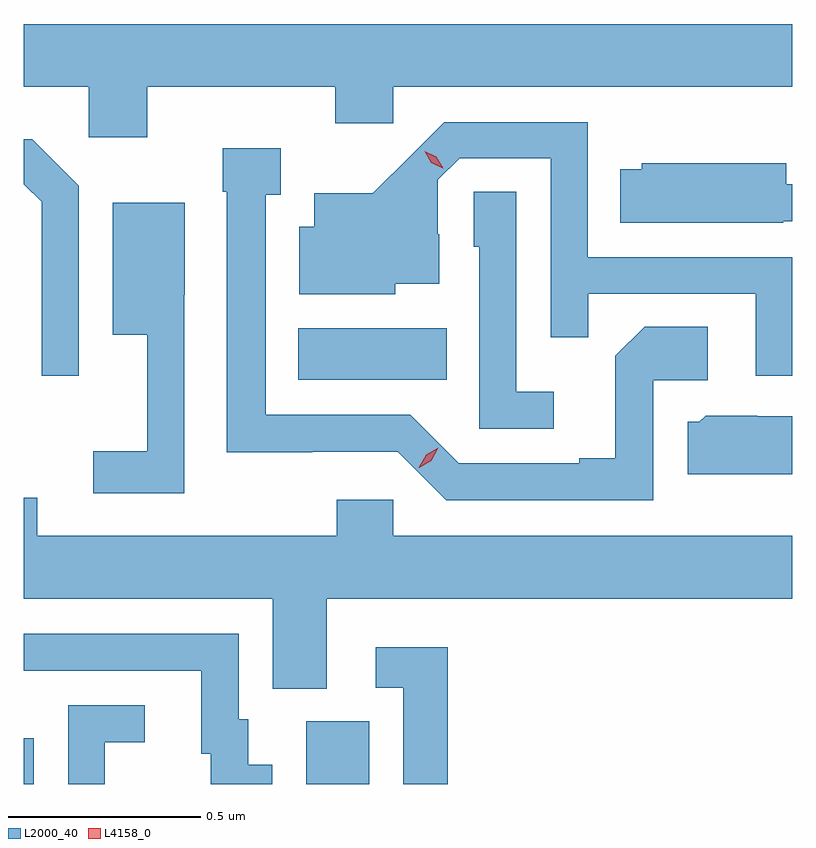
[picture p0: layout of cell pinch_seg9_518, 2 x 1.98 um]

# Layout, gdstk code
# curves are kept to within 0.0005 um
import gdstk
lib = gdstk.Library(unit=1e-6, precision=1e-09)
def R(c, l, rs):  # rectangles x0, y0, x1, y1
    for r in rs: c.add(gdstk.rectangle(r[:2], r[2:], *l))
def P(c, l, *ps):  # polygons
    for p in ps: c.add(gdstk.Polygon(p, *l))
L2000_40 = (2000, 40)
L4158_0 = (4158, 0)

pinch_seg9_518 = lib.new_cell('pinch_seg9_518')
R(pinch_seg9_518, L2000_40, [(287.171,1202.597,287.197,1202.716), (287.906,1202.597,288.07,1202.76), (287.885,1203.65,288.272,1203.784)])
P(pinch_seg9_518, L2000_40, [(287.492,1204.412),(287.981,1204.412),(287.981,1204.317),(288.132,1204.317),(288.132,1204.412),(289.171,1204.412),(289.171,1204.576),(287.171,1204.576),(287.171,1204.412),(287.34,1204.412),(287.34,1204.281),(287.492,1204.281)],
  [(289.171,1203.969),(288.639,1203.969),(288.639,1204.32),(288.266,1204.32),(288.079,1204.135),(287.927,1204.135),(287.927,1204.048),(287.888,1204.048),(287.888,1203.872),(288.138,1203.872),(288.138,1203.899),(288.253,1203.899),(288.253,1204.028),(288.249,1204.028),(288.249,1204.17),(288.306,1204.227),(288.543,1204.227),(288.543,1203.76),(288.641,1203.76),(288.641,1203.873),(289.077,1203.873),(289.077,1203.66),(289.171,1203.66)],
  [(287.313,1204.155),(287.192,1204.276),(287.171,1204.276),(287.171,1204.159),(287.217,1204.113),(287.217,1203.66),(287.313,1203.66)],
  [(288.81,1203.648),(288.952,1203.648),(288.952,1203.788),(288.787,1203.788),(288.711,1203.712),(288.711,1203.445),(288.617,1203.445),(288.617,1203.432),(288.303,1203.432),(288.177,1203.558),(287.8,1203.558),(287.8,1204.131),(287.839,1204.131),(287.839,1204.252),(287.689,1204.252),(287.689,1204.139),(287.699,1204.139),(287.699,1203.461),(287.922,1203.461),(287.922,1203.462),(288.144,1203.462),(288.27,1203.336),(288.81,1203.336)],
  [(289.148,1204.062),(289.171,1204.062),(289.171,1204.159),(289.156,1204.159),(289.156,1204.213),(288.78,1204.213),(288.78,1204.198),(288.724,1204.198),(288.724,1204.058),(289.148,1204.058)],
  [(288.55,1203.619),(288.453,1203.619),(288.453,1204.139),(288.342,1204.139),(288.342,1203.996),(288.357,1203.996),(288.357,1203.522),(288.55,1203.522)],
  [(287.589,1203.871),(287.59,1203.871),(287.59,1204.111),(287.402,1204.111),(287.402,1203.767),(287.492,1203.767),(287.492,1203.463),(287.352,1203.463),(287.352,1203.354),(287.589,1203.354)],
  [(289.171,1203.555),(289.08,1203.555),(289.08,1203.556),(288.946,1203.556),(288.93,1203.54),(288.899,1203.54),(288.899,1203.404),(289.171,1203.404)],
  [(287.959,1203.08),(289.171,1203.08),(289.171,1203.244),(288.132,1203.244),(288.132,1203.337),(287.986,1203.337),(287.986,1203.244),(287.206,1203.244),(287.206,1203.342),(287.171,1203.342),(287.171,1203.08),(287.819,1203.08),(287.819,1202.845),(287.959,1202.845)],
  [(287.818,1202.647),(287.755,1202.647),(287.755,1202.766),(287.73,1202.766),(287.73,1202.988),(287.171,1202.988),(287.171,1202.892),(287.633,1202.892),(287.633,1202.676),(287.657,1202.676),(287.657,1202.597),(287.818,1202.597)],
  [(288.275,1202.953),(288.087,1202.953),(288.087,1202.847),(288.159,1202.847),(288.159,1202.597),(288.275,1202.597)],
  [(287.382,1202.706),(287.485,1202.706),(287.485,1202.802),(287.286,1202.802),(287.286,1202.597),(287.382,1202.597)])
P(pinch_seg9_518, L4158_0, [(288.262,1204.2),(288.232,1204.215),(288.214,1204.244),(288.214,1204.245),(288.215,1204.245),(288.245,1204.23),(288.263,1204.2),(288.263,1204.2)],
  [(288.199,1203.421),(288.199,1203.421),(288.218,1203.454),(288.25,1203.472),(288.25,1203.472),(288.25,1203.472),(288.232,1203.439),(288.2,1203.421)])

lib.write_gds('pinch_seg9_518.gds')
